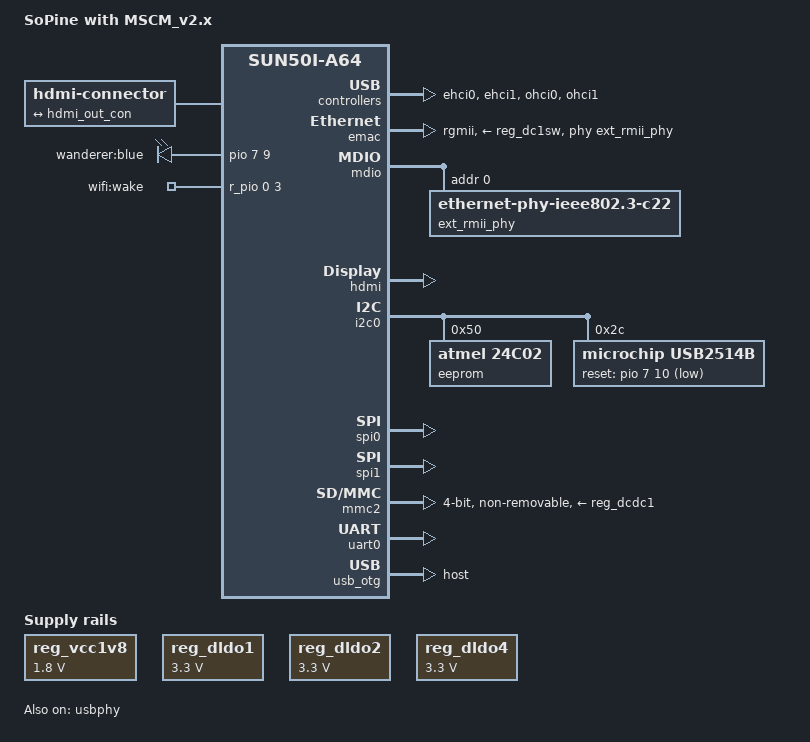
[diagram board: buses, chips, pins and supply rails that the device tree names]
// SPDX-License-Identifier: (GPL-2.0+ OR MIT)
// Copyright (c) 2017 Icenowy Zheng <icenowy@aosc.xyz>
// Based on sun50i-a64-sopine-baseboard.dts, which is:
//   Copyright (c) 2016 ARM Ltd.

/dts-v1/;

#include "sun50i-a64-sopine-mscm.dtsi"
#include <dt-bindings/gpio/gpio.h>
#include <dt-bindings/input/input.h>
#include <dt-bindings/pwm/pwm.h>
#include <dt-bindings/thermal/thermal.h>

/ {
	model = "SoPine with MSCM_v2.x";
	compatible = "pine64,mscm", "pine64,sopine",
		     "allwinner,sun50i-a64";

	aliases { /* These will hint at the ordering / bus number assignment in u-boot dm */
		ethernet0 = &emac;
		serial0 = &uart0;
		spi0 = &spi0;
		spi1 = &spi1;
		i2c0 = &i2c0;
		serial1 = &uart1;
		serial2 = &uart2;
		serial3 = &uart3;
		serial4 = &uart4;
	};

	chosen {
		stdout-path = "serial0:115200n8";
	};

	hdmi-connector {
		compatible = "hdmi-connector";
		type = "a";

		port {
			hdmi_con_in: endpoint {
				remote-endpoint = <&hdmi_out_con>;
			};
		};
	};

	reg_vcc1v8: vcc1v8 {
		compatible = "regulator-fixed";
		regulator-name = "vcc1v8";
		regulator-min-microvolt = <1800000>;
		regulator-max-microvolt = <1800000>;
	};
	
	leds {
		compatible = "gpio-leds";
		blue {
			label = "wanderer:blue";
			gpios = <&pio 7 9 GPIO_ACTIVE_HIGH>; /* PH9 */
			default-state = "on";
		};
		wifi_wake {
			label = "wifi:wake";
			gpios = <&r_pio 0 3 GPIO_ACTIVE_HIGH>;
			default-state = "off";
		};
		/*wifi_en {
			label = "wifi:en";
			gpios = <&r_pio 0 2 GPIO_ACTIVE_HIGH>;
			default-state = "on";
		};
		wifi_rst {
			label = "wifi:rst";
			gpios = <&r_pio 0 4 GPIO_ACTIVE_HIGH>;
			default-state = "on";
		};*/	
	};
	
};

&ehci0 {
	status = "okay";
};

&ehci1 {
	status = "okay";
};

&emac {
	pinctrl-names = "default";
	pinctrl-0 = <&rgmii_pins>;
	phy-mode = "rgmii";
	phy-handle = <&ext_rmii_phy>;
	phy-supply = <&reg_dc1sw>;
	status = "okay";
};

&mdio {
	ext_rmii_phy: ethernet-phy@0 {
		compatible = "ethernet-phy-ieee802.3-c22";
		reg = <0>;
	};
};

&hdmi {
	hvcc-supply = <&reg_dldo1>;
	status = "okay";
};

&hdmi_out {
	hdmi_out_con: endpoint {
		remote-endpoint = <&hdmi_con_in>;
	};
};

&i2c0 {
	pinctrl-names = "default";
	pinctrl-0 = <&i2c0_pins>;
	status = "okay";
	eeprom: eeprom@50 {
		compatible = "atmel,24c02";
		reg = <0x50>;
		pagesize = <8>;
	};
	usb2514b@2c {
		compatible = "microchip,usb2514b";
		reg = <0x2c>;
		reset-gpios = <&pio 7 10 GPIO_ACTIVE_LOW>;
	};
};

&i2c0_pins {
	bias-pull-up;
	drive-strength = <30>;
};


&spi0 {
	status = "okay";
};

&spi1 {
	status = "okay";
};

&mmc2 {
	pinctrl-names = "default";
	pinctrl-0 = <&mmc2_pins>;
	vmmc-supply = <&reg_dcdc1>;
	vqmmc-supply = <&reg_vcc1v8>;
	bus-width = <4>;
	non-removable;
	cap-mmc-hw-reset;
	status = "okay";
};

&ohci0 {
	status = "okay";
};

&ohci1 {
	status = "okay";
};

&reg_dc1sw {
	/*
	 * Ethernet PHY needs 30ms to properly power up and some more
	 * to initialize. 100ms should be plenty of time to finish
	 * whole process.
	 *
	 * regulator-always-on;
	 * regulator-enable-ramp-delay = <100000>;
	*/
	regulator-name = "vcc-phy";
};

&reg_dldo1 {
	regulator-min-microvolt = <3300000>;
	regulator-max-microvolt = <3300000>;
	regulator-name = "vcc-hdmi";
};

&reg_dldo2 {
	regulator-min-microvolt = <3300000>;
	regulator-max-microvolt = <3300000>;
	regulator-name = "vcc-wifi";
};

&reg_dldo4 {
    regulator-always-on;
	regulator-min-microvolt = <3300000>;
	regulator-max-microvolt = <3300000>;
	regulator-name = "vcc-wifi-io";
};

&simplefb_hdmi {
	vcc-hdmi-supply = <&reg_dldo1>;
};

&uart0 {
	pinctrl-names = "default";
	pinctrl-0 = <&uart0_pb_pins>;
	status = "okay";
};

/* On Pi-2 connector */
&uart2 {
	pinctrl-names = "default";
	pinctrl-0 = <&uart2_pins>;
	status = "disabled";
};

/* On Euler connector */
&uart3 {
	pinctrl-names = "default";
	pinctrl-0 = <&uart3_pins>;
	status = "disabled";
};

/* On Euler connector, RTS/CTS optional */
&uart4 {
	pinctrl-names = "default";
	pinctrl-0 = <&uart4_pins>;
	status = "disabled";
};

&usb_otg {
	dr_mode = "host";
	status = "okay";
};

&usbphy {
	status = "okay";
};
